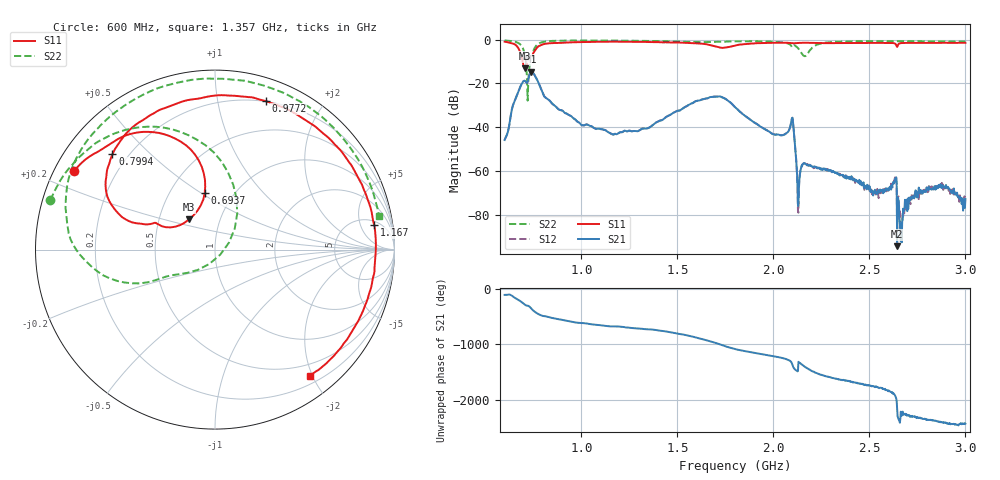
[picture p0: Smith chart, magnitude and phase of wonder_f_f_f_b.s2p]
#  HZ  S  RI  R  50.00
! Rohde & Schwarz ZVB8 2Ports - Version 2.81 - 1145.1010k08 SN: 100113
! Date: 2016-05-12 03:17:23
! Measurements: S11 S21 S12 S22
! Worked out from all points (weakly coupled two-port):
!   1000 points, 600 MHz to 3 GHz, reference 50 ohm
!   highest |S21| = -14.54 dB at 739.3 MHz (marker M1); lowest = -94.2 dB at 2.644 GHz (marker M2)
!   lowest |S11| = -13.1 dB at 705.7 MHz (marker M3), VSWR 1.57, Z = 35.5 + j12.6 ohm
!   |S11| at or under -10 dB: 693.9 MHz to 719.5 MHz (25.57 MHz wide, 3.62 % of centre)
!   |S22| runs from -27.8 to -0.4 dB; largest |S21 - S12| = 0.0023
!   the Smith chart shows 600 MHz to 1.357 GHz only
!   S11 on the Smith chart (normalised r, x): 600 MHz: 0.06, +0.26; 693.7 MHz: 0.74, +0.52; 799.4 MHz: 0.14, +0.39; 977.2 MHz: 0.20, +1.38; 1.167 GHz: 6, +9; 1.357 GHz: 0.31, -1.96
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6e8  -0.7867 0.4383  -0.00206 -0.00472  -0.00208 -0.00469  -0.9166 0.2747
6.936937e8  -0.0576 0.3139  -0.0261 0.1028  -0.0263 0.103  -0.1477 0.6372
7.057057e8  -0.1449 0.1683  0.0379 0.1079  0.0385 0.1075  0.0722 0.4306
7.225225e8  -0.3111 0.1382  0.0752 0.0924  0.0748 0.0927  -0.0311 -0.0797
7.393393e8  -0.3935 0.1411  0.1876 -0.00168  0.1874 -0.00342  -0.3358 -0.1719
7.993994e8  -0.5715 0.531  -0.0398 -0.0448  -0.0398 -0.0452  -0.8302 0.2957
9.771772e8  0.2818 0.8276  -0.00417 0.0131  -0.00415 0.013  -0.2233 0.9266
1.001201e9  0.3897 0.7891  -0.00208 0.011  -0.00211 0.011  -0.1334 0.9452
1.166967e9  0.8868 0.1374  0.00508 0.00456  0.00508 0.00462  0.5128 0.8004
1.356757e9  0.529 -0.7056  0.0098 -0.00212  0.00987 -0.0022  0.9142 0.1857
1.4e9  0.3452 -0.8041  0.0117 -0.00681  0.0117 -0.0068  0.9266 0.0165
1.678679e9  -0.633 -0.3801  -0.0288 0.0398  -0.0289 0.0399  0.4602 -0.7553
1.801201e9  -0.7079 -0.1985  0.0284 -0.00314  0.0284 -0.00329  0.1078 -0.9084
2.000601e9  -0.6682 0.5239  -0.00479 -0.00508  -0.00477 -0.00514  -0.513 -0.7351
2.094294e9  -0.3698 0.7478  -0.00594 0.0131  -0.00601 0.0131  -0.6108 -0.348
2.13033e9  -0.2625 0.7978  -0.000107 0.000144  -8.59e-05 7.33e-05  -0.5764 -0.2388
2.2e9  0.0213 0.8453  0.00102 -0.000803  0.000981 -0.000769  -0.3618 -0.5256
2.601201e9  0.748 -0.3884  0.000326 -0.00018  0.000291 -0.000232  -0.8692 0.2983
2.644444e9  0.5411 -0.4145  1.85e-05 6.22e-06  -4.08e-05 -1.28e-05  -0.8334 0.388
2.670871e9  0.5991 -0.5854  1.49e-05 -7.11e-05  2.38e-06 -8.41e-05  -0.8048 0.4416
2.87027e9  -0.1387 -0.8329  -0.000335 0.000368  -0.00027 0.000435  -0.4799 0.7784
3e9  -0.5534 -0.6391  -2.53e-05 0.000232  -5.02e-05 0.000207  -0.182 0.8845
